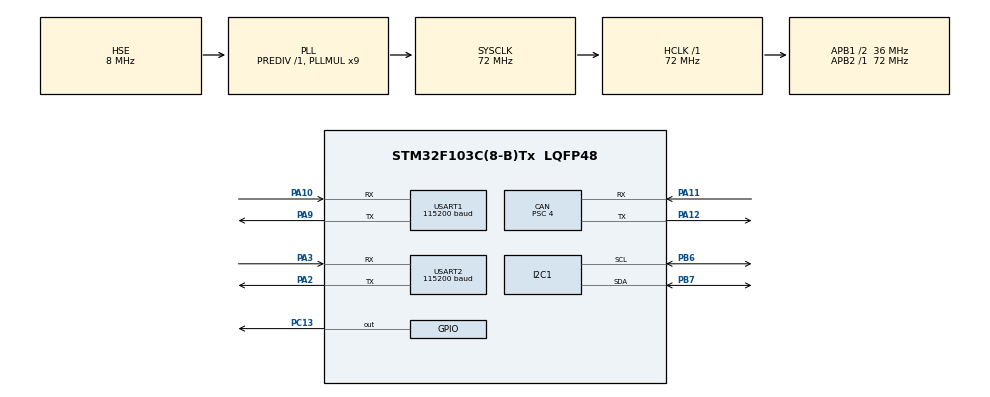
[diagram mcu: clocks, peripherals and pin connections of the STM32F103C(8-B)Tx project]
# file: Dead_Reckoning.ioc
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CAN.BS1=CAN_BS1_15TQ
CAN.BS2=CAN_BS2_2TQ
CAN.CalculateBaudRate=500000
CAN.CalculateTimeBit=1999.99
CAN.CalculateTimeQuantum=111.11111111111111
CAN.Mode=CAN_MODE_SILENT_LOOPBACK
CAN.Prescaler=4
I2C1.I2C_Mode=I2C_Fast
Mcu.Family=STM32F1
Mcu.Name=STM32F103C(8-B)Tx
Mcu.Package=LQFP48
NVIC.PriorityGroup=NVIC_PRIORITYGROUP_4
NVIC.TIM1_UP_IRQn=true\:15\:0\:false\:false\:true\:false\:true
NVIC.TIM2_IRQn=true\:0\:0\:false\:false\:true\:true\:true
NVIC.TimeBase=TIM1_UP_IRQn
NVIC.TimeBaseIP=TIM1
NVIC.USART1_IRQn=true\:0\:0\:false\:false\:true\:true\:true
NVIC.USB_HP_CAN1_TX_IRQn=true\:0\:0\:false\:false\:true\:true\:true
NVIC.USB_LP_CAN1_RX0_IRQn=true\:0\:0\:false\:false\:true\:true\:true
PA10.Mode=Asynchronous
PA10.Signal=USART1_RX
PA11.Mode=CAN_Activate
PA11.Signal=CAN_RX
PA12.Mode=CAN_Activate
PA12.Signal=CAN_TX
PA13.Mode=Serial_Wire
PA13.Signal=SYS_JTMS-SWDIO
PA14.Mode=Serial_Wire
PA14.Signal=SYS_JTCK-SWCLK
PA2.Mode=Asynchronous
PA2.Signal=USART2_TX
PA3.Mode=Asynchronous
PA3.Signal=USART2_RX
PA9.Mode=Asynchronous
PA9.Signal=USART1_TX
PB6.Mode=I2C
PB6.Signal=I2C1_SCL
PB7.Mode=I2C
PB7.Signal=I2C1_SDA
PC13-TAMPER-RTC.Signal=GPIO_Output
PD0-OSC_IN.Mode=HSE-External-Oscillator
PD0-OSC_IN.Signal=RCC_OSC_IN
PD1-OSC_OUT.Mode=HSE-External-Oscillator
PD1-OSC_OUT.Signal=RCC_OSC_OUT
ProjectManager.HeapSize=0x200
ProjectManager.StackSize=0x400
ProjectManager.TargetToolchain=MDK-ARM V5
RCC.AHBFreq_Value=72000000
RCC.APB1CLKDivider=RCC_HCLK_DIV2
RCC.APB1Freq_Value=36000000
RCC.APB1TimFreq_Value=72000000
RCC.APB2Freq_Value=72000000
RCC.APB2TimFreq_Value=72000000
RCC.HCLKFreq_Value=72000000
RCC.PLLMUL=RCC_PLL_MUL9
RCC.PLLSourceVirtual=RCC_PLLSOURCE_HSE
RCC.SYSCLKFreq_VALUE=72000000
RCC.SYSCLKSource=RCC_SYSCLKSOURCE_PLLCLK
RCC.USBFreq_Value=72000000
TIM2.Prescaler=72-1
USART1.BaudRate=115200
USART1.VirtualMode=VM_ASYNC
USART2.BaudRate=115200
USART2.VirtualMode=VM_ASYNC
VP_SYS_VS_tim1.Mode=TIM1
VP_TIM2_VS_ClockSourceINT.Mode=Internal
board=custom

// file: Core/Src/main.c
/* USER CODE BEGIN Header */
/**
 ******************************************************************************
 * @file           : main.c
 * @brief          : Main program body
 ******************************************************************************
 * @attention
 *
 * <h2><center>&copy; Copyright (c) 2021 STMicroelectronics.
 * All rights reserved.</center></h2>
 *
 * This software component is licensed by ST under BSD 3-Clause license,
 * the "License"; You may not use this file except in compliance with the
 * License. You may obtain a copy of the License at:
 *                        opensource.org/licenses/BSD-3-Clause
 *
 ******************************************************************************
 */
/* USER CODE END Header */
#include "main.h"

/* USER CODE BEGIN Includes */
#include "gps.h"
#include "FreeRTOS.h"
#include "task.h"

/* USER CODE END Includes */

CAN_HandleTypeDef hcan;

I2C_HandleTypeDef hi2c1;

TIM_HandleTypeDef htim2;

UART_HandleTypeDef huart1;
UART_HandleTypeDef huart2;

/* USER CODE BEGIN PV */

/*Messages Structs*/
send_longitude long_send;
receive_longitude long_receive;
send_lattitude lat_send;
receive_lattitude lat_receive;
send_speed speed_send;
receive_speed speed_receive;
/************************************************************/
/*Global Variables to test the execution time of GPS Task*/
uint16_t GPS_start=0;
uint16_t GPS_end=0;
uint16_t GPS_execution_time=0;
uint8_t GPS_time[100];
/*Global Variables to test the execution time of CAN Task*/
uint16_t CAN_start = 0;
uint16_t CAN_end = 0;
uint16_t CAN_execution_time = 0;
uint8_t CAN_time[100];
uint8_t new_line [2] = "\r\n";
/************************************************************/
UART_HandleTypeDef GPS_UART_HANDLER;
UART_HandleTypeDef DEBUG_UART_HANDLER;
I2C_HandleTypeDef I2C_HANDLER;
/*CAN Messages Handlers*/
CAN_RxHeaderTypeDef longitudeRx;
CAN_TxHeaderTypeDef longitudeTx;
CAN_RxHeaderTypeDef lattitudeRx;
CAN_TxHeaderTypeDef lattitudeTx;
CAN_RxHeaderTypeDef speedRx;
CAN_TxHeaderTypeDef speedTx;
CAN_FilterTypeDef filter;
uint32_t mailbox;
/* USER CODE END PV */

void SystemClock_Config(void);
static void MX_GPIO_Init(void);
static void MX_I2C1_Init(void);
static void MX_USART1_UART_Init(void);
static void MX_USART2_UART_Init(void);
static void MX_TIM2_Init(void);
static void MX_CAN_Init(void);
/* USER CODE BEGIN PFP */
void CAN_Config_filter()
{
	filter.FilterActivation = CAN_FILTER_ENABLE;
	filter.FilterFIFOAssignment = CAN_FILTER_FIFO0;
	filter.FilterScale = CAN_FILTERSCALE_32BIT;
	filter.FilterMode = CAN_FILTERMODE_IDMASK;
	filter.FilterMaskIdLow = 0;
	filter.FilterMaskIdHigh = 0;
	filter.FilterIdHigh = 0;
	filter.FilterIdLow = 0;
	filter.FilterBank = 0;
	HAL_CAN_ConfigFilter( &hcan , &filter );
}
void Longitude_Tx(void)
{
		longitudeTx.StdId = 0x10;
		longitudeTx.ExtId = 0;
		longitudeTx.DLC = 8;
		longitudeTx.IDE = CAN_ID_STD;
		longitudeTx.RTR = CAN_RTR_DATA;
		longitudeTx.TransmitGlobalTime = DISABLE;
		HAL_CAN_AddTxMessage( &hcan , &longitudeTx , long_send.send_longitude_arr , &mailbox );
		/*DeComment if using Polling*/
		//while(HAL_CAN_IsTxMessagePending(&hcan,mailbox));
}
void Longitude_Rx()
{
	/*DeComment if using Polling*/
	//while( ! ( HAL_CAN_GetRxFifoFillLevel(&hcan,CAN_RX_FIFO0)));
	HAL_CAN_GetRxMessage( &hcan,CAN_RX_FIFO0 ,&longitudeRx ,long_receive.receive_longitude_arr );
	HAL_GPIO_TogglePin( GPIOC, GPIO_PIN_13 );

}
void Lattitude_Tx(void)
{
	lattitudeTx.StdId = 0x11;
	lattitudeTx.ExtId = 0;
	lattitudeTx.DLC = 8;
	lattitudeTx.IDE = CAN_ID_STD;
	lattitudeTx.RTR = CAN_RTR_DATA;
	lattitudeTx.TransmitGlobalTime = DISABLE;
	HAL_CAN_AddTxMessage( &hcan , &lattitudeTx ,(lat_send.send_lattitude_arr) , &mailbox );
	/*DeComment if using Polling*/
	//while(HAL_CAN_IsTxMessagePending(&hcan,mailbox));
}
void Lattitude_Rx()
{
	/*DeComment if using Polling*/
	//while( ! ( HAL_CAN_GetRxFifoFillLevel(&hcan,CAN_RX_FIFO0)));
	HAL_CAN_GetRxMessage( &hcan ,CAN_RX_FIFO0 ,&lattitudeRx ,lat_receive.receive_lattitude_arr );
	HAL_GPIO_TogglePin(GPIOC, GPIO_PIN_13);

}
void Speed_Tx(void)
{
	speedTx.StdId = 0x12;
	speedTx.ExtId = 0;
	speedTx.DLC = 8;
	speedTx.IDE = CAN_ID_STD;
	speedTx.RTR = CAN_RTR_DATA;
	speedTx.TransmitGlobalTime = DISABLE;
	HAL_CAN_AddTxMessage( &hcan , &speedTx ,(speed_send.send_speed_arr) , &mailbox );
	/*DeComment if using Polling*/
	//while(HAL_CAN_IsTxMessagePending(&hcan,mailbox));
}
void Speed_Rx()
{
	/*DeComment if using Polling*/
	//while( ! ( HAL_CAN_GetRxFifoFillLevel(&hcan,CAN_RX_FIFO0)));
	HAL_CAN_GetRxMessage(&hcan,CAN_RX_FIFO0,&speedRx,speed_receive.receive_speed_arr);
	HAL_GPIO_TogglePin(GPIOC, GPIO_PIN_13);
}
void GPS_Task(void *pv){
	TickType_t xLastWakeTime;
	const TickType_t xFrequency = 100;
	xLastWakeTime = xTaskGetTickCount ();
	HAL_TIM_Base_Start_IT(&htim2);
	while(1){
		GPS_start=__HAL_TIM_GET_COUNTER(&htim2);
		GPS_I2C_receive();
		GPS_end=__HAL_TIM_GET_COUNTER(&htim2);
		HAL_TIM_Base_Stop_IT(&htim2);
		GPS_execution_time=GPS_end-GPS_start;
		/*Print Task Execution Time*/
		HAL_UART_Transmit(&DEBUG_UART_HANDLER,GPS_time, sprintf((char *)GPS_time, "%d", GPS_execution_time),HAL_MAX_DELAY);
		HAL_UART_Transmit(&DEBUG_UART_HANDLER,new_line,2,HAL_MAX_DELAY);
		xTaskDelayUntil( &xLastWakeTime, xFrequency );
	}
}
void CAN_Task(void *pv){
	TickType_t xLastWakeTime;
	const TickType_t xFrequency = 100;
	xLastWakeTime = xTaskGetTickCount ();
	HAL_TIM_Base_Start_IT(&htim2);
  	while(1)
		{
			CAN_start=__HAL_TIM_GET_COUNTER(&htim2);
			Longitude_Tx();
			Lattitude_Tx();
			Speed_Tx();
			CAN_end=__HAL_TIM_GET_COUNTER(&htim2);
			HAL_TIM_Base_Stop_IT(&htim2);
			CAN_execution_time=CAN_end-CAN_start;
			/*Print Task Execution Time*/
			HAL_UART_Transmit(&DEBUG_UART_HANDLER,CAN_time, sprintf((char *)CAN_time, "%d", CAN_execution_time),HAL_MAX_DELAY);
			HAL_UART_Transmit(&DEBUG_UART_HANDLER,new_line,2,HAL_MAX_DELAY);
		  xTaskDelayUntil( &xLastWakeTime, xFrequency );
	}
}
void HAL_CAN_TxMailbox0CompleteCallback(CAN_HandleTypeDef *hcan){
	uint8_t arr[15]="Message 1 sent ";
	HAL_UART_Transmit(&huart1,arr,15,HAL_MAX_DELAY);
	HAL_GPIO_TogglePin(GPIOC, GPIO_PIN_13);

}
void HAL_CAN_TxMailbox1CompleteCallback(CAN_HandleTypeDef *hcan){
	uint8_t arr[15]="Message 2 sent ";
	HAL_UART_Transmit(&huart1,arr,15,HAL_MAX_DELAY);
	HAL_GPIO_TogglePin(GPIOC, GPIO_PIN_13);
}
void HAL_CAN_TxMailbox2CompleteCallback(CAN_HandleTypeDef *hcan){
	uint8_t arr[15]="Message 3 sent ";
	HAL_UART_Transmit(&huart1,arr,15,HAL_MAX_DELAY);
	HAL_GPIO_TogglePin(GPIOC, GPIO_PIN_13);
}

/*DeComment at the receiver's side*/
//void HAL_CAN_RxFifo0MsgPendingCallback(CAN_HandleTypeDef *hcan1)
//{
//	Longitude_Rx();
//	Lattitude_Rx();
//	Speed_Rx();
//	uint8_t arr[16]="Message received";
//	HAL_UART_Transmit(&huart1,arr,16,HAL_MAX_DELAY);
//}

/* USER CODE END PFP */

int main(void)
{

  /* MCU Configuration--------------------------------------------------------*/

  /* Reset of all peripherals, Initializes the Flash interface and the Systick. */
  HAL_Init();

  /* Configure the system clock */
  SystemClock_Config();

  /* Initialize all configured peripherals */
  MX_GPIO_Init();
  MX_I2C1_Init();
  MX_USART1_UART_Init();
  MX_USART2_UART_Init();
  MX_TIM2_Init();
  MX_CAN_Init();
  /* USER CODE BEGIN 2 */
	HAL_CAN_Start(&hcan);
	HAL_CAN_ActivateNotification(&hcan,CAN_IT_TX_MAILBOX_EMPTY);

	TaskHandle_t Task1_handler;
	TaskHandle_t Task2_handler;

	xTaskCreate(GPS_Task,"GPS_Task",configMINIMAL_STACK_SIZE,NULL,1,&Task1_handler);
	xTaskCreate(CAN_Task,"CAN_Task",configMINIMAL_STACK_SIZE,NULL,2,&Task2_handler);
	vTaskStartScheduler();
  /* USER CODE END 2 */

  /* Infinite loop */
  /* USER CODE BEGIN WHILE */
	while (1);

    /* USER CODE END WHILE */

}

void SystemClock_Config(void)
{
  RCC_OscInitTypeDef RCC_OscInitStruct = {0};
  RCC_ClkInitTypeDef RCC_ClkInitStruct = {0};

  /** Initializes the RCC Oscillators according to the specified parameters
  * in the RCC_OscInitTypeDef structure.
  */
  RCC_OscInitStruct.OscillatorType = RCC_OSCILLATORTYPE_HSE;
  RCC_OscInitStruct.HSEState = RCC_HSE_ON;
  RCC_OscInitStruct.HSEPredivValue = RCC_HSE_PREDIV_DIV1;
  RCC_OscInitStruct.HSIState = RCC_HSI_ON;
  RCC_OscInitStruct.PLL.PLLState = RCC_PLL_ON;
  RCC_OscInitStruct.PLL.PLLSource = RCC_PLLSOURCE_HSE;
  RCC_OscInitStruct.PLL.PLLMUL = RCC_PLL_MUL9;
  if (HAL_RCC_OscConfig(&RCC_OscInitStruct) != HAL_OK)
  {
    Error_Handler();
  }
  /** Initializes the CPU, AHB and APB buses clocks
  */
  RCC_ClkInitStruct.ClockType = RCC_CLOCKTYPE_HCLK|RCC_CLOCKTYPE_SYSCLK
                              |RCC_CLOCKTYPE_PCLK1|RCC_CLOCKTYPE_PCLK2;
  RCC_ClkInitStruct.SYSCLKSource = RCC_SYSCLKSOURCE_PLLCLK;
  RCC_ClkInitStruct.AHBCLKDivider = RCC_SYSCLK_DIV1;
  RCC_ClkInitStruct.APB1CLKDivider = RCC_HCLK_DIV2;
  RCC_ClkInitStruct.APB2CLKDivider = RCC_HCLK_DIV1;

  if (HAL_RCC_ClockConfig(&RCC_ClkInitStruct, FLASH_LATENCY_2) != HAL_OK)
  {
    Error_Handler();
  }
}

static void MX_CAN_Init(void)
{

  hcan.Instance = CAN1;
  hcan.Init.Prescaler = 4;
  hcan.Init.Mode = CAN_MODE_SILENT_LOOPBACK;
  hcan.Init.SyncJumpWidth = CAN_SJW_1TQ;
  hcan.Init.TimeSeg1 = CAN_BS1_15TQ;
  hcan.Init.TimeSeg2 = CAN_BS2_2TQ;
  hcan.Init.TimeTriggeredMode = DISABLE;
  hcan.Init.AutoBusOff = DISABLE;
  hcan.Init.AutoWakeUp = DISABLE;
  hcan.Init.AutoRetransmission = DISABLE;
  hcan.Init.ReceiveFifoLocked = DISABLE;
  hcan.Init.TransmitFifoPriority = DISABLE;
  if (HAL_CAN_Init(&hcan) != HAL_OK)
  {
    Error_Handler();
  }

}

static void MX_I2C1_Init(void)
{

  hi2c1.Instance = I2C1;
  hi2c1.Init.ClockSpeed = 400000;
  hi2c1.Init.DutyCycle = I2C_DUTYCYCLE_2;
  hi2c1.Init.OwnAddress1 = 0;
  hi2c1.Init.AddressingMode = I2C_ADDRESSINGMODE_7BIT;
  hi2c1.Init.DualAddressMode = I2C_DUALADDRESS_DISABLE;
  hi2c1.Init.OwnAddress2 = 0;
  hi2c1.Init.GeneralCallMode = I2C_GENERALCALL_DISABLE;
  hi2c1.Init.NoStretchMode = I2C_NOSTRETCH_DISABLE;
  if (HAL_I2C_Init(&hi2c1) != HAL_OK)
  {
    Error_Handler();
  }

}

static void MX_TIM2_Init(void)
{

  TIM_ClockConfigTypeDef sClockSourceConfig = {0};
  TIM_MasterConfigTypeDef sMasterConfig = {0};

  htim2.Instance = TIM2;
  htim2.Init.Prescaler = 72-1;
  htim2.Init.CounterMode = TIM_COUNTERMODE_UP;
  htim2.Init.Period = 65535;
  htim2.Init.ClockDivision = TIM_CLOCKDIVISION_DIV1;
  htim2.Init.AutoReloadPreload = TIM_AUTORELOAD_PRELOAD_DISABLE;
  if (HAL_TIM_Base_Init(&htim2) != HAL_OK)
  {
    Error_Handler();
  }
  sClockSourceConfig.ClockSource = TIM_CLOCKSOURCE_INTERNAL;
  if (HAL_TIM_ConfigClockSource(&htim2, &sClockSourceConfig) != HAL_OK)
  {
    Error_Handler();
  }
  sMasterConfig.MasterOutputTrigger = TIM_TRGO_RESET;
  sMasterConfig.MasterSlaveMode = TIM_MASTERSLAVEMODE_DISABLE;
  if (HAL_TIMEx_MasterConfigSynchronization(&htim2, &sMasterConfig) != HAL_OK)
  {
    Error_Handler();
  }

}

static void MX_USART1_UART_Init(void)
{

  huart1.Instance = USART1;
  huart1.Init.BaudRate = 115200;
  huart1.Init.WordLength = UART_WORDLENGTH_8B;
  huart1.Init.StopBits = UART_STOPBITS_1;
  huart1.Init.Parity = UART_PARITY_NONE;
  huart1.Init.Mode = UART_MODE_TX_RX;
  huart1.Init.HwFlowCtl = UART_HWCONTROL_NONE;
  huart1.Init.OverSampling = UART_OVERSAMPLING_16;
  if (HAL_UART_Init(&huart1) != HAL_OK)
  {
    Error_Handler();
  }

}

static void MX_USART2_UART_Init(void)
{

  huart2.Instance = USART2;
  huart2.Init.BaudRate = 115200;
  huart2.Init.WordLength = UART_WORDLENGTH_8B;
  huart2.Init.StopBits = UART_STOPBITS_1;
  huart2.Init.Parity = UART_PARITY_NONE;
  huart2.Init.Mode = UART_MODE_TX_RX;
  huart2.Init.HwFlowCtl = UART_HWCONTROL_NONE;
  huart2.Init.OverSampling = UART_OVERSAMPLING_16;
  if (HAL_UART_Init(&huart2) != HAL_OK)
  {
    Error_Handler();
  }

}

static void MX_GPIO_Init(void)
{
  GPIO_InitTypeDef GPIO_InitStruct = {0};

  /* GPIO Ports Clock Enable */
  __HAL_RCC_GPIOC_CLK_ENABLE();
  __HAL_RCC_GPIOD_CLK_ENABLE();
  __HAL_RCC_GPIOA_CLK_ENABLE();
  __HAL_RCC_GPIOB_CLK_ENABLE();

  /*Configure GPIO pin Output Level */
  HAL_GPIO_WritePin(GPIOC, GPIO_PIN_13, GPIO_PIN_RESET);

  /*Configure GPIO pin : PC13 */
  GPIO_InitStruct.Pin = GPIO_PIN_13;
  GPIO_InitStruct.Mode = GPIO_MODE_OUTPUT_PP;
  GPIO_InitStruct.Pull = GPIO_NOPULL;
  GPIO_InitStruct.Speed = GPIO_SPEED_FREQ_LOW;
  HAL_GPIO_Init(GPIOC, &GPIO_InitStruct);

}

void HAL_TIM_PeriodElapsedCallback(TIM_HandleTypeDef *htim)
{
  if (htim->Instance == TIM1) {
    HAL_IncTick();
  }
}

void Error_Handler(void)
{
	__disable_irq();
	while (1)
	{
	}
}

/************************ (C) COPYRIGHT STMicroelectronics *****END OF FILE****/
